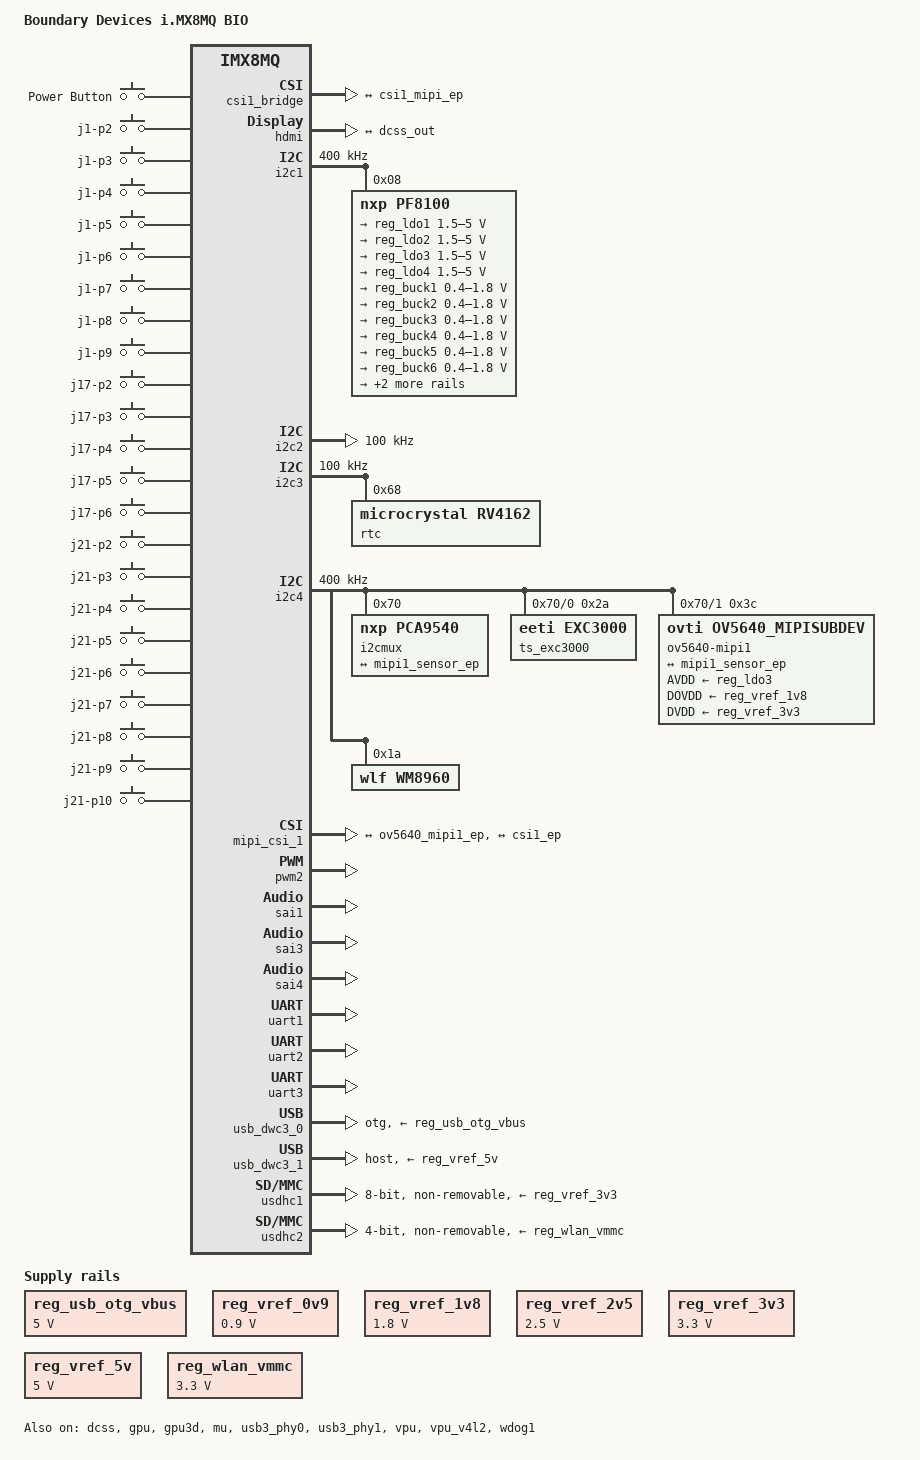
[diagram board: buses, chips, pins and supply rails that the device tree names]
// SPDX-License-Identifier: (GPL-2.0+ OR MIT)
/*
 * Copyright 2018 Boundary Devices
 */

/dts-v1/;

#include "imx8mq.dtsi"
#include "panel-m101nwwb.dtsi"

&iomuxc {
	pinctrl-names = "default";
	pinctrl-0 = <&pinctrl_hog>;

	pinctrl_backlight: backlightgrp {
		fsl,pins = <
#define GPIRQ_BKLIT_ERR	<&gpio4 19 IRQ_TYPE_LEVEL_HIGH>
			MX8MQ_IOMUXC_SAI1_TXD7_GPIO4_IO19		0x19
		>;
	};

	pinctrl_bt_rfkill: bt-rfkillgrp {
		fsl,pins = <
#define GP_BT_RFKILL_RESET	<&gpio3 19 GPIO_ACTIVE_LOW>
			MX8MQ_IOMUXC_SAI5_RXFS_GPIO3_IO19		0x19
		>;
	};

	pinctrl_gpio_keys: gpio_keysgrp {
		fsl,pins = <
#define GP_GPIOKEY_POWER	<&gpio1 7 GPIO_ACTIVE_LOW>
			MX8MQ_IOMUXC_GPIO1_IO07_GPIO1_IO7		0x19	/* sw3 */
			/* J1 connector */
#define GP_GPIOKEY_J1_P2	<&gpio4 1 GPIO_ACTIVE_LOW>
			MX8MQ_IOMUXC_SAI1_RXC_GPIO4_IO1			0x19	/* Pin 2 */
#define GP_GPIOKEY_J1_P3	<&gpio5 5 GPIO_ACTIVE_LOW>
			MX8MQ_IOMUXC_SPDIF_EXT_CLK_GPIO5_IO5		0x19	/* Pin 3 */
#define GP_GPIOKEY_J1_P4	<&gpio4 3 GPIO_ACTIVE_LOW>
			MX8MQ_IOMUXC_SAI1_RXD1_GPIO4_IO3		0x19	/* Pin 4 */
#define GP_GPIOKEY_J1_P5	<&gpio4 4 GPIO_ACTIVE_LOW>
			MX8MQ_IOMUXC_SAI1_RXD2_GPIO4_IO4		0x19	/* Pin 5 */
#define GP_GPIOKEY_J1_P6	<&gpio4 5 GPIO_ACTIVE_LOW>
			MX8MQ_IOMUXC_SAI1_RXD3_GPIO4_IO5		0x19	/* Pin 6 */
#define GP_GPIOKEY_J1_P7	<&gpio4 6 GPIO_ACTIVE_LOW>
			MX8MQ_IOMUXC_SAI1_RXD4_GPIO4_IO6		0x19	/* Pin 7 */
#define GP_GPIOKEY_J1_P8	<&gpio4 7 GPIO_ACTIVE_LOW>
			MX8MQ_IOMUXC_SAI1_RXD5_GPIO4_IO7		0x19	/* Pin 8 */
#define GP_GPIOKEY_J1_P9	<&gpio4 8 GPIO_ACTIVE_LOW>
			MX8MQ_IOMUXC_SAI1_RXD6_GPIO4_IO8		0x19	/* Pin 9 */
			/* J17 connector */
#define GP_GPIOKEY_J17_P2	<&gpio4 0 GPIO_ACTIVE_LOW>
			MX8MQ_IOMUXC_SAI1_RXFS_GPIO4_IO0		0x19	/* Pin 2 */
#define GP_GPIOKEY_J17_P3	<&gpio1 3 GPIO_ACTIVE_LOW>
			MX8MQ_IOMUXC_GPIO1_IO03_GPIO1_IO3		0x19	/* Pin 3 */
#define GP_GPIOKEY_J17_P4	<&gpio1 10 GPIO_ACTIVE_LOW>
			MX8MQ_IOMUXC_GPIO1_IO10_GPIO1_IO10		0x19	/* Pin 4 */
#define GP_GPIOKEY_J17_P5	<&gpio5 10 GPIO_ACTIVE_LOW>
			MX8MQ_IOMUXC_ECSPI2_SCLK_GPIO5_IO10		0x19	/* Pin 5 */
#define GP_GPIOKEY_J17_P6	<&gpio1 1 GPIO_ACTIVE_LOW>
			MX8MQ_IOMUXC_GPIO1_IO01_GPIO1_IO1		0x19	/* pin 6 */

			/* J21 connector */
#define GP_GPIOKEY_J21_P2	<&gpio3 4 GPIO_ACTIVE_LOW>
			MX8MQ_IOMUXC_NAND_CE3_B_GPIO3_IO4		0x19	/* Pin 2 */
#define GP_GPIOKEY_J21_P3	<&gpio3 15 GPIO_ACTIVE_LOW>
			MX8MQ_IOMUXC_NAND_RE_B_GPIO3_IO15		0x19	/* Pin 3 */
#define GP_GPIOKEY_J21_P4	<&gpio3 11 GPIO_ACTIVE_LOW>
			MX8MQ_IOMUXC_NAND_DATA05_GPIO3_IO11		0x19	/* Pin 4 */
#define GP_GPIOKEY_J21_P5	<&gpio3 10 GPIO_ACTIVE_LOW>
			MX8MQ_IOMUXC_NAND_DATA04_GPIO3_IO10		0x19	/* Pin 5 */
#define GP_GPIOKEY_J21_P6	<&gpio3 9 GPIO_ACTIVE_LOW>
			MX8MQ_IOMUXC_NAND_DATA03_GPIO3_IO9		0x19	/* Pin 6 */
#define GP_GPIOKEY_J21_P7	<&gpio3 8 GPIO_ACTIVE_LOW>
			MX8MQ_IOMUXC_NAND_DATA02_GPIO3_IO8		0x19	/* Pin 7 */
#define GP_GPIOKEY_J21_P8	<&gpio3 7 GPIO_ACTIVE_LOW>
			MX8MQ_IOMUXC_NAND_DATA01_GPIO3_IO7		0x19	/* Pin 8 */
#define GP_GPIOKEY_J21_P9	<&gpio3 6 GPIO_ACTIVE_LOW>
			MX8MQ_IOMUXC_NAND_DATA00_GPIO3_IO6		0x19	/* Pin 9 */
#define GP_GPIOKEY_J21_P10	<&gpio1 5 GPIO_ACTIVE_LOW>
			MX8MQ_IOMUXC_GPIO1_IO05_GPIO1_IO5		0x19	/* Pin 10 */
		>;
	};

	pinctrl_hog: hoggrp {
		fsl,pins = <
			/* J19 Pin 2, WL_WAKE */
			MX8MQ_IOMUXC_SAI5_RXD2_GPIO3_IO23		0xd6
			/* J19 Pin 4, WL_IRQ, not needed for Silex */
			MX8MQ_IOMUXC_SAI5_RXD0_GPIO3_IO21		0xd6
			/* J19 Pin 42, BT_HOST_WAKE */
			MX8MQ_IOMUXC_SAI5_MCLK_GPIO3_IO25		0xd6

			/* test points */
			MX8MQ_IOMUXC_NAND_READY_B_GPIO3_IO16		0x19	/* TP29 */
			MX8MQ_IOMUXC_NAND_ALE_GPIO3_IO0			0x19	/* TP30 */
			MX8MQ_IOMUXC_SAI1_TXD4_GPIO4_IO16		0x19	/* TP31 */
			MX8MQ_IOMUXC_SAI3_MCLK_PWM4_OUT			0x19	/* TP32 */
		>;
	};

	pinctrl_i2c1: i2c1grp {
		fsl,pins = <
			MX8MQ_IOMUXC_I2C1_SCL_I2C1_SCL			0x4000007f
			MX8MQ_IOMUXC_I2C1_SDA_I2C1_SDA			0x4000007f
		>;
	};

	pinctrl_i2c1_1: i2c1-1grp {
		fsl,pins = <
#define GP_I2C1_SCL	<&gpio5 14 GPIO_OPEN_DRAIN>
			MX8MQ_IOMUXC_I2C1_SCL_GPIO5_IO14		0x4000007f
#define GP_I2C1_SDA	<&gpio5 15 GPIO_OPEN_DRAIN>
			MX8MQ_IOMUXC_I2C1_SDA_GPIO5_IO15		0x4000007f
		>;
	};

	pinctrl_i2c2: i2c2grp {
		fsl,pins = <
			MX8MQ_IOMUXC_I2C2_SCL_I2C2_SCL			0x4000007f
			MX8MQ_IOMUXC_I2C2_SDA_I2C2_SDA			0x4000007f
		>;
	};

	pinctrl_i2c2_1: i2c2-1grp {
		fsl,pins = <
#define GP_I2C2_SCL	<&gpio5 16 GPIO_OPEN_DRAIN>
			MX8MQ_IOMUXC_I2C2_SCL_GPIO5_IO16		0x4000007f
#define GP_I2C2_SDA	<&gpio5 17 GPIO_OPEN_DRAIN>
			MX8MQ_IOMUXC_I2C2_SDA_GPIO5_IO17		0x4000007f
		>;
	};

	pinctrl_i2c2_ov5640_mipi: i2c2-ov5640-mipigrp {
		fsl,pins = <
#define GP_OV5640_MIPI_POWER_DOWN	<&gpio4 25 GPIO_ACTIVE_HIGH>
			MX8MQ_IOMUXC_SAI2_TXC_GPIO4_IO25		0x61
#define GP_OV5640_MIPI_RESET	<&gpio4 24 GPIO_ACTIVE_LOW>
			MX8MQ_IOMUXC_SAI2_TXFS_GPIO4_IO24		0x61
			/* Clock for CSI1 */
			MX8MQ_IOMUXC_GPIO1_IO15_CCMSRCGPCMIX_CLKO2	0x59
		>;
	};

	pinctrl_i2c2_sn65dsi83: i2c2-sn65dsi83grp {
		fsl,pins = <
#define GP_I2C2_SN65DSI83_IRQ_REV0	<&gpio4 28 GPIO_ACTIVE_HIGH>
#define GPIRQ_I2C2_SN65DSI83_REV0	<&gpio4 28 IRQ_TYPE_LEVEL_HIGH>
			MX8MQ_IOMUXC_SAI3_RXFS_GPIO4_IO28	0x44
#define GP_I2C2_SN65DSI83_EN_REV0	<&gpio3 14 GPIO_ACTIVE_HIGH>
			MX8MQ_IOMUXC_NAND_DQS_GPIO3_IO14	0x06

#define GP_I2C2_SN65DSI83_IRQ	<&gpio3 24 GPIO_ACTIVE_HIGH>
#define GPIRQ_I2C2_SN65DSI83	<&gpio3 24 IRQ_TYPE_LEVEL_HIGH>
			MX8MQ_IOMUXC_SAI5_RXD3_GPIO3_IO24	0x44
#define GP_I2C2_SN65DSI83_EN	<&gpio3 22 GPIO_ACTIVE_HIGH>
			MX8MQ_IOMUXC_SAI5_RXD1_GPIO3_IO22	0x06
		>;
	};

	pinctrl_i2c3: i2c3grp {
		fsl,pins = <
			MX8MQ_IOMUXC_I2C3_SCL_I2C3_SCL			0x4000007f
			MX8MQ_IOMUXC_I2C3_SDA_I2C3_SDA			0x4000007f
		>;
	};

	pinctrl_i2c3_1: i2c3-1grp {
		fsl,pins = <
#define GP_I2C3_SCL	<&gpio5 18 GPIO_OPEN_DRAIN>
			MX8MQ_IOMUXC_I2C3_SCL_GPIO5_IO18		0x4000007f
#define GP_I2C3_SDA	<&gpio5 19 GPIO_OPEN_DRAIN>
			MX8MQ_IOMUXC_I2C3_SDA_GPIO5_IO19		0x4000007f
		>;
	};

	pinctrl_i2c3_rv4162: i2c3-rv4162grp {
		fsl,pins = <
#define GPIRQ_RV4162		<&gpio1 6 IRQ_TYPE_LEVEL_LOW>
			MX8MQ_IOMUXC_GPIO1_IO06_GPIO1_IO6		0x49
		>;
	};

	pinctrl_i2c4: i2c4grp {
		fsl,pins = <
			MX8MQ_IOMUXC_I2C4_SCL_I2C4_SCL			0x4000007f
			MX8MQ_IOMUXC_I2C4_SDA_I2C4_SDA			0x4000007f
		>;
	};

	pinctrl_i2c4_1: i2c4-1grp {
		fsl,pins = <
#define GP_I2C4_SCL	<&gpio5 20 GPIO_OPEN_DRAIN>
			MX8MQ_IOMUXC_I2C4_SCL_GPIO5_IO20		0x4000007f
#define GP_I2C4_SDA	<&gpio5 21 GPIO_OPEN_DRAIN>
			MX8MQ_IOMUXC_I2C4_SDA_GPIO5_IO21		0x4000007f
		>;
	};

	pinctrl_i2c4a_exc3000: i2c4-exc3000grp {
		fsl,pins = <
#define GPIRQ_EXC3000            <&gpio3 12 IRQ_TYPE_LEVEL_LOW>
#define GP_EXC3000_IRQ           <&gpio3 12 GPIO_ACTIVE_LOW>
			MX8MQ_IOMUXC_NAND_DATA06_GPIO3_IO12	0xd6
#define GP_EXC3000_RESET         <&gpio3 13 GPIO_ACTIVE_LOW>
			MX8MQ_IOMUXC_NAND_DATA07_GPIO3_IO13	0xd6
                >;
        };

	pinctrl_i2c4a_ft5x06: i2c4-ft5x06grp {
		fsl,pins = <
#define GPIRQ_I2C4_FT5X06	<&gpio3 12 IRQ_TYPE_EDGE_FALLING>
#define GP_I2C4_FT5X06_WAKE	<&gpio3 12 GPIO_ACTIVE_LOW>
			MX8MQ_IOMUXC_NAND_DATA06_GPIO3_IO12	0x49
#define GP_I2C4_FT5X06_RESET	<&gpio3 13 GPIO_ACTIVE_LOW>
			MX8MQ_IOMUXC_NAND_DATA07_GPIO3_IO13	0x49
		>;
	};

	pinctrl_i2c4a_gt911: i2c4-gt911grp {
		fsl,pins = <
#define GPIRQ_GT911 		<&gpio3 12 IRQ_TYPE_LEVEL_HIGH>
#define GP_GT911_IRQ 		<&gpio3 12 GPIO_ACTIVE_HIGH>
			MX8MQ_IOMUXC_NAND_DATA06_GPIO3_IO12	0xd6
			/* driver writes levels, instead of active/inactive */
#define GP_GT911_RESET		<&gpio3 13 GPIO_ACTIVE_HIGH>
			MX8MQ_IOMUXC_NAND_DATA07_GPIO3_IO13	0x49
		>;
	};

	pinctrl_i2c4a_st1633: i2c4-st1633grp {
		fsl,pins = <
#define GPIRQ_ST1633 		<&gpio3 12 IRQ_TYPE_EDGE_FALLING>
#define GP_ST1633_IRQ 		<&gpio3 12 GPIO_ACTIVE_LOW>
			MX8MQ_IOMUXC_NAND_DATA06_GPIO3_IO12	0xd6
#define GP_ST1633_RESET		<&gpio3 13 GPIO_ACTIVE_LOW>
			MX8MQ_IOMUXC_NAND_DATA07_GPIO3_IO13	0x49
		>;
	};

	pinctrl_pwm2: pwm2grp {
		fsl,pins = <
			MX8MQ_IOMUXC_SPDIF_RX_PWM2_OUT		0x16
		>;
	};

	pinctrl_reg_usbotg_vbus: reg-usbotg-vbusgrp {
		fsl,pins = <
#define GP_REG_USB_OTG_VBUS	<&gpio1 12 GPIO_ACTIVE_HIGH>
			MX8MQ_IOMUXC_GPIO1_IO12_GPIO1_IO12	0x16
		>;
	};

	pinctrl_reg_wlan_vmmc: reg-wlan-vmmcgrp {
		fsl,pins = <
#define GP_REG_WLAN_VMMC	<&gpio3 20 GPIO_ACTIVE_HIGH>
			MX8MQ_IOMUXC_SAI5_RXC_GPIO3_IO20	0x16
		>;
	};

	pinctrl_sai1: sai1grp {
		fsl,pins = <
			/* wm8960 */
			MX8MQ_IOMUXC_SAI1_MCLK_SAI1_MCLK		0xd6
			MX8MQ_IOMUXC_SAI1_TXFS_SAI1_TX_SYNC		0xd6
			MX8MQ_IOMUXC_SAI1_TXC_SAI1_TX_BCLK		0xd6
			MX8MQ_IOMUXC_SAI1_TXD0_SAI1_TX_DATA0		0xd6
			MX8MQ_IOMUXC_SAI1_RXD0_SAI1_RX_DATA0		0xd6
		>;
	};

	pinctrl_sai3: sai3grp {
		fsl,pins = <
			/* Bluetooth PCM */
			MX8MQ_IOMUXC_SAI3_TXFS_SAI3_TX_SYNC		0xd6
			MX8MQ_IOMUXC_SAI3_TXC_SAI3_TX_BCLK		0xd6
			MX8MQ_IOMUXC_SAI3_TXD_SAI3_TX_DATA0		0xd6
			MX8MQ_IOMUXC_SAI3_RXD_SAI3_RX_DATA0		0xd6
		>;
	};

	pinctrl_sound_wm8960: souncd-wm8960grp {
		fsl,pins = <
#define GPIRQ_MIC_DET		<&gpio5 12 IRQ_TYPE_LEVEL_HIGH>
			MX8MQ_IOMUXC_ECSPI2_MISO_GPIO5_IO12		0x01
		>;
	};

	pinctrl_uart1: uart1grp {
		fsl,pins = <
			MX8MQ_IOMUXC_UART1_RXD_UART1_DCE_RX		0x45
			MX8MQ_IOMUXC_UART1_TXD_UART1_DCE_TX		0x45
		>;
	};

	pinctrl_uart2: uart2grp {
		fsl,pins = <
			MX8MQ_IOMUXC_UART2_RXD_UART2_DCE_RX		0x45
			MX8MQ_IOMUXC_UART2_TXD_UART2_DCE_TX		0x45
		>;
	};

	pinctrl_uart3: uart3grp {
		fsl,pins = <
			MX8MQ_IOMUXC_UART3_RXD_UART3_DCE_RX		0x45
			MX8MQ_IOMUXC_UART3_TXD_UART3_DCE_TX		0x45
			MX8MQ_IOMUXC_ECSPI1_SS0_UART3_DCE_RTS_B		0x45
			MX8MQ_IOMUXC_ECSPI1_MISO_UART3_DCE_CTS_B	0x45
		>;
	};

	pinctrl_usb3_0: usb3-0grp {
		fsl,pins = <
			MX8MQ_IOMUXC_GPIO1_IO13_USB1_OTG_OC		0x16
		>;
	};

	pinctrl_usb3_1: usb3-1grp {
		fsl,pins = <
#define GP_USB3_1_HUB_RESET	<&gpio1 14 GPIO_ACTIVE_LOW>
			MX8MQ_IOMUXC_GPIO1_IO14_GPIO1_IO14		0x16
#define GP_USB3_1_DN3_SD_RESET	<&gpio3 17 GPIO_ACTIVE_HIGH>
			MX8MQ_IOMUXC_NAND_WE_B_GPIO3_IO17		0x61
		>;
	};

	pinctrl_usdhc1: usdhc1grp {
		fsl,pins = <
			MX8MQ_IOMUXC_SD1_CLK_USDHC1_CLK			0x83
			MX8MQ_IOMUXC_SD1_CMD_USDHC1_CMD			0xc3
			MX8MQ_IOMUXC_SD1_DATA0_USDHC1_DATA0		0xc3
			MX8MQ_IOMUXC_SD1_DATA1_USDHC1_DATA1		0xc3
			MX8MQ_IOMUXC_SD1_DATA2_USDHC1_DATA2		0xc3
			MX8MQ_IOMUXC_SD1_DATA3_USDHC1_DATA3		0xc3
			MX8MQ_IOMUXC_SD1_DATA4_USDHC1_DATA4		0xc3
			MX8MQ_IOMUXC_SD1_DATA5_USDHC1_DATA5		0xc3
			MX8MQ_IOMUXC_SD1_DATA6_USDHC1_DATA6		0xc3
			MX8MQ_IOMUXC_SD1_DATA7_USDHC1_DATA7		0xc3
#if 0
			MX8MQ_IOMUXC_SD1_RESET_B_USDHC1_RESET_B		0xc1
#else
#define GP_EMMC_RESET		<&gpio2 10 GPIO_ACTIVE_LOW>
			MX8MQ_IOMUXC_SD1_RESET_B_GPIO2_IO10		0x41
#endif
		>;
	};

	pinctrl_usdhc1_100mhz: usdhc1grp100mhz {
		fsl,pins = <
			MX8MQ_IOMUXC_SD1_CLK_USDHC1_CLK			0x8d
			MX8MQ_IOMUXC_SD1_CMD_USDHC1_CMD			0xcd
			MX8MQ_IOMUXC_SD1_DATA0_USDHC1_DATA0		0xcd
			MX8MQ_IOMUXC_SD1_DATA1_USDHC1_DATA1		0xcd
			MX8MQ_IOMUXC_SD1_DATA2_USDHC1_DATA2		0xcd
			MX8MQ_IOMUXC_SD1_DATA3_USDHC1_DATA3		0xcd
			MX8MQ_IOMUXC_SD1_DATA4_USDHC1_DATA4		0xcd
			MX8MQ_IOMUXC_SD1_DATA5_USDHC1_DATA5		0xcd
			MX8MQ_IOMUXC_SD1_DATA6_USDHC1_DATA6		0xcd
			MX8MQ_IOMUXC_SD1_DATA7_USDHC1_DATA7		0xcd
		>;
	};

	pinctrl_usdhc1_200mhz: usdhc1grp200mhz {
		fsl,pins = <
			MX8MQ_IOMUXC_SD1_CLK_USDHC1_CLK			0x9f
			MX8MQ_IOMUXC_SD1_CMD_USDHC1_CMD			0xdf
			MX8MQ_IOMUXC_SD1_DATA0_USDHC1_DATA0		0xdf
			MX8MQ_IOMUXC_SD1_DATA1_USDHC1_DATA1		0xdf
			MX8MQ_IOMUXC_SD1_DATA2_USDHC1_DATA2		0xdf
			MX8MQ_IOMUXC_SD1_DATA3_USDHC1_DATA3		0xdf
			MX8MQ_IOMUXC_SD1_DATA4_USDHC1_DATA4		0xdf
			MX8MQ_IOMUXC_SD1_DATA5_USDHC1_DATA5		0xdf
			MX8MQ_IOMUXC_SD1_DATA6_USDHC1_DATA6		0xdf
			MX8MQ_IOMUXC_SD1_DATA7_USDHC1_DATA7		0xdf
		>;
	};

	pinctrl_usdhc2: usdhc2grp {
		fsl,pins = <
			MX8MQ_IOMUXC_SD2_CLK_USDHC2_CLK			0x83
			MX8MQ_IOMUXC_SD2_CMD_USDHC2_CMD			0xc3
			MX8MQ_IOMUXC_SD2_DATA0_USDHC2_DATA0		0xc3
			MX8MQ_IOMUXC_SD2_DATA1_USDHC2_DATA1		0xc3
			MX8MQ_IOMUXC_SD2_DATA2_USDHC2_DATA2		0xc3
			MX8MQ_IOMUXC_SD2_DATA3_USDHC2_DATA3		0xc3
			/* Bluetooth slow clock */
			MX8MQ_IOMUXC_GPIO1_IO00_ANAMIX_REF_CLK_32K	0x03
			MX8MQ_IOMUXC_SD2_CD_B_GPIO2_IO12		0x19	/* J19 pin 9 */
		>;
	};

	pinctrl_usdhc2_100mhz: usdhc2grp100mhz {
		fsl,pins = <
			MX8MQ_IOMUXC_SD2_CLK_USDHC2_CLK			0x8d
			MX8MQ_IOMUXC_SD2_CMD_USDHC2_CMD			0xcd
			MX8MQ_IOMUXC_SD2_DATA0_USDHC2_DATA0		0xcd
			MX8MQ_IOMUXC_SD2_DATA1_USDHC2_DATA1		0xcd
			MX8MQ_IOMUXC_SD2_DATA2_USDHC2_DATA2		0xcd
			MX8MQ_IOMUXC_SD2_DATA3_USDHC2_DATA3		0xcd
		>;
	};

	pinctrl_usdhc2_200mhz: usdhc2grp200mhz {
		fsl,pins = <
			MX8MQ_IOMUXC_SD2_CLK_USDHC2_CLK			0x9f
			MX8MQ_IOMUXC_SD2_CMD_USDHC2_CMD			0xdf
			MX8MQ_IOMUXC_SD2_DATA0_USDHC2_DATA0		0xdf
			MX8MQ_IOMUXC_SD2_DATA1_USDHC2_DATA1		0xdf
			MX8MQ_IOMUXC_SD2_DATA2_USDHC2_DATA2		0xdf
			MX8MQ_IOMUXC_SD2_DATA3_USDHC2_DATA3		0xdf
		>;
	};

	pinctrl_wdog: wdoggrp {
		fsl,pins = <
			MX8MQ_IOMUXC_GPIO1_IO02_WDOG1_WDOG_B		0xc6
		>;
	};
};

/ {
	model = "Boundary Devices i.MX8MQ BIO";
	compatible = "boundary,imx8mq-bio", "fsl,imx8mq";

	aliases {
		backlight_mipi = &backlight_mipi;
		dcss = &dcss;
		fb_mipi = &fb_mipi;
		fb_hdmi = &hdmi;
		lcdif = &lcdif;
		mipi = &fb_mipi;
		mipi_dsi = &mipi_dsi;
		mipi_dsi_bridge = &mipi_dsi;
		mipi_dsi_phy = &dphy;
		mipi_to_lvds = &mipi_to_lvds;
		pwm_mipi = &pwm2;
		sound_hdmi = &sound_hdmi;
		t_mipi = &t_mipi;
		ts_exc3000 = &ts_exc3000;
		ts_ft5x06 = &ts_ft5x06;
		ts_goodix = &ts_goodix;
		ts_st1633i = &ts_st1633i;
	};

	backlight_mipi: backlight-mipi {
		brightness-levels = <0 1 2 3 4 5 6 7 8 9 10>;
		compatible = "pwm-backlight";
		default-brightness-level = <8>;
		display = <&lcdif>;
		pwms = <&pwm2 0 30000>;		/* 33.3 Khz */
		status = "disabled";
	};

	bt-rfkill {
		compatible = "net,rfkill-gpio";
		pinctrl-names = "default";
		pinctrl-0 = <&pinctrl_bt_rfkill>;
		name = "bt-rfkill";
		type = <2>; /* Bluetooth */
		reset-gpios = GP_BT_RFKILL_RESET;
		status = "okay";
	};

	gpio-keys {
		compatible = "gpio-keys";
		pinctrl-names = "default";
		pinctrl-0 = <&pinctrl_gpio_keys>;

		power {
			label = "Power Button";
			gpios = GP_GPIOKEY_POWER;
			linux,code = <KEY_POWER>;
			gpio-key,wakeup;
		};

		j1-p2 {
			label = "j1-p2";
			gpios = GP_GPIOKEY_J1_P2;
			linux,code = <KEY_2>;
		};

		j1-p3 {
			label = "j1-p3";
			gpios = GP_GPIOKEY_J1_P3;
			linux,code = <KEY_3>;
		};

		j1-p4 {
			label = "j1-p4";
			gpios = GP_GPIOKEY_J1_P4;
			linux,code = <KEY_4>;
		};

		j1-p5 {
			label = "j1-p5";
			gpios = GP_GPIOKEY_J1_P5;
			linux,code = <KEY_5>;
		};

		j1-p6 {
			label = "j1-p6";
			gpios = GP_GPIOKEY_J1_P6;
			linux,code = <KEY_6>;
		};

		j1-p7 {
			label = "j1-p7";
			gpios = GP_GPIOKEY_J1_P7;
			linux,code = <KEY_7>;
		};

		j1-p8 {
			label = "j1-p8";
			gpios = GP_GPIOKEY_J1_P8;
			linux,code = <KEY_8>;
		};

		j1-p9 {
			label = "j1-p9";
			gpios = GP_GPIOKEY_J1_P9;
			linux,code = <KEY_9>;
		};

		j17-p2 {
			label = "j17-p2";
			gpios = GP_GPIOKEY_J17_P2;
			linux,code = <KEY_F2>;
		};

		j17-p3 {
			label = "j17-p3";
			gpios = GP_GPIOKEY_J17_P3;
			linux,code = <KEY_F3>;
		};

		j17-p4 {
			label = "j17-p4";
			gpios = GP_GPIOKEY_J17_P4;
			linux,code = <KEY_F4>;
		};

		j17-p5 {
			label = "j17-p5";
			gpios = GP_GPIOKEY_J17_P5;
			linux,code = <KEY_F5>;
		};

		j17-p6 {
			label = "j17-p6";
			gpios = GP_GPIOKEY_J17_P6;
			linux,code = <KEY_F6>;
		};

		j21-p2 {
			label = "j21-p2";
			gpios = GP_GPIOKEY_J21_P2;
			linux,code = <KEY_B>;
		};

		j21-p3 {
			label = "j21-p3";
			gpios = GP_GPIOKEY_J21_P3;
			linux,code = <KEY_C>;
		};

		j21-p4 {
			label = "j21-p4";
			gpios = GP_GPIOKEY_J21_P4;
			linux,code = <KEY_D>;
		};

		j21-p5 {
			label = "j21-p5";
			gpios = GP_GPIOKEY_J21_P5;
			linux,code = <KEY_E>;
		};

		j21-p6 {
			label = "j21-p6";
			gpios = GP_GPIOKEY_J21_P6;
			linux,code = <KEY_F>;
		};

		j21-p7 {
			label = "j21-p7";
			gpios = GP_GPIOKEY_J21_P7;
			linux,code = <KEY_G>;
		};

		j21-p8 {
			label = "j21-p8";
			gpios = GP_GPIOKEY_J21_P8;
			linux,code = <KEY_H>;
		};

		j21-p9 {
			label = "j21-p9";
			gpios = GP_GPIOKEY_J21_P9;
			linux,code = <KEY_I>;
		};

		j21-p10 {
			label = "j21-p10";
			gpios = GP_GPIOKEY_J21_P10;
			linux,code = <KEY_J>;
		};
	};

	reg_usb_otg_vbus: regulator-usb-otg-vbus {
		compatible = "regulator-fixed";
		pinctrl-names = "default";
		pinctrl-0 = <&pinctrl_reg_usbotg_vbus>;
		regulator-name = "usb_otg_vbus";
		regulator-min-microvolt = <5000000>;
		regulator-max-microvolt = <5000000>;
		gpio = GP_REG_USB_OTG_VBUS;
		enable-active-high;
	};

	reg_vref_0v9: regulator-vref-0v9 {
		compatible = "regulator-fixed";
		regulator-name = "vref-0v9";
		regulator-min-microvolt = <900000>;
		regulator-max-microvolt = <900000>;
	};

	reg_vref_1v8: regulator-vref-1v8 {
		compatible = "regulator-fixed";
		regulator-name = "vref-1v8";
		regulator-min-microvolt = <1800000>;
		regulator-max-microvolt = <1800000>;
	};

	reg_vref_2v5: regulator-vref-2v5 {
		compatible = "regulator-fixed";
		regulator-name = "vref-2v5";
		regulator-min-microvolt = <2500000>;
		regulator-max-microvolt = <2500000>;
	};

	reg_vref_3v3: regulator-vref-3v3 {
		compatible = "regulator-fixed";
		regulator-name = "vref-3v3";
		regulator-min-microvolt = <3300000>;
		regulator-max-microvolt = <3300000>;
	};

	reg_vref_5v: regulator-vref-5v {
		compatible = "regulator-fixed";
		regulator-name = "vref-5v";
		regulator-min-microvolt = <5000000>;
		regulator-max-microvolt = <5000000>;
	};

	reg_wlan_vmmc: regulator-wlan-vmmc {
		compatible = "regulator-fixed";
		pinctrl-names = "default";
		pinctrl-0 = <&pinctrl_reg_wlan_vmmc>;
		regulator-name = "reg_wlan_vmmc";
		regulator-min-microvolt = <3300000>;
		regulator-max-microvolt = <3300000>;
		gpio = GP_REG_WLAN_VMMC;
		startup-delay-us = <70000>;
		enable-active-high;
	};

	resmem: reserved-memory {
		#address-cells = <2>;
		#size-cells = <2>;
		ranges;

		/* global autoconfigured region for contiguous allocations */
		linux,cma {
			compatible = "shared-dma-pool";
			reusable;
			size = <0 0x3c000000>;
			alloc-ranges = <0 0x40000000 0 0x40000000>;
			linux,cma-default;
		};
	};

	sound-wm8960 {
		audio-codec = <&wm8960>;
		audio-cpu = <&sai1>;
		audio-routing =
			"Headphone Jack", "HP_L",
			"Headphone Jack", "HP_R",
			"Ext Spk", "SPK_LP",
			"Ext Spk", "SPK_LN",
			"Ext Spk", "SPK_RP",
			"Ext Spk", "SPK_RN",
			"LINPUT1", "Main MIC",
			"Main MIC", "MICB";
		codec-master;
		compatible = "fsl,imx-audio-wm8960";
		hp-det = <2 0>;
		model = "wm8960-audio";
		pinctrl-names = "default";
		pinctrl-0 = <&pinctrl_sound_wm8960>;
	};

	sound_hdmi: sound-hdmi {
		compatible = "fsl,imx-audio-hdmi";
		model = "imx-audio-hdmi";
		audio-cpu = <&sai4>;
		constraint-rate = <32000 44100 48000 96000 192000>;
		protocol = <1>;
		hdmi-out;
		status = "okay";
	};
};

&A53_0 {
	cpu-supply = <&reg_buck3>;
};

&A53_1 {
	cpu-supply = <&reg_buck3>;
};

&A53_2 {
	cpu-supply = <&reg_buck3>;
};

&A53_3 {
	cpu-supply = <&reg_buck3>;
};

&csi1_bridge {
	fsl,mipi-mode;
	fsl,two-8bit-sensor-mode;
	status = "okay";

	port {
		csi1_ep: endpoint {
			remote-endpoint = <&csi1_mipi_ep>;
		};
	};
};

&dcss {
	status = "okay";

	port {
		dcss_out: endpoint {
			remote-endpoint = <&hdmi_in>;
		};
	};
};

&gpu {
	power-domains = <&pgc_gpu>;
	status = "okay";
};

&gpu3d {
	power-domains = <&pgc_gpu>;
	status = "okay";
};

&hdmi {
	assigned-clocks = <&clk IMX8MQ_CLK_MON_SEL>;
	assigned-clock-parents = <&clk IMX8MQ_CLK_27M>;
	clocks = <&clk IMX8MQ_CLK_MON_CLK2_OUT>;
	clock-names = "refclk";
	compatible = "cdn,imx8mq-hdmi";
	lane-mapping = <0xe4>;
	status = "okay";

	port {
		hdmi_in: endpoint {
			remote-endpoint = <&dcss_out>;
		};
	};
};

&i2c1 {
	clock-frequency = <400000>;
	pinctrl-names = "default", "gpio";
	pinctrl-0 = <&pinctrl_i2c1>;
	pinctrl-1 = <&pinctrl_i2c1_1>;
	scl-gpios = GP_I2C1_SCL;
	sda-gpios = GP_I2C1_SDA;
	status = "okay";

	pf8100@8 {
		compatible = "nxp,pf8100";
		reg = <0x08>;

		regulators {
			reg_ldo1: ldo1 {
				regulator-always-on;
				regulator-boot-on;
				regulator-max-microvolt = <5000000>;
				regulator-min-microvolt = <1500000>;
			};

			reg_ldo2: ldo2 {
				regulator-always-on;
				regulator-boot-on;
				regulator-max-microvolt = <5000000>;
				regulator-min-microvolt = <1500000>;
#if 0
				/* vselect low is 3.3V, high is 1.8V */
				vselect-en;
#endif
			};

			reg_ldo3: ldo3 {
				regulator-always-on;
				regulator-boot-on;
				regulator-max-microvolt = <5000000>;
				regulator-min-microvolt = <1500000>;
			};

			reg_ldo4: ldo4 {
				regulator-always-on;
				regulator-boot-on;
				regulator-max-microvolt = <5000000>;
				regulator-min-microvolt = <1500000>;
			};

			reg_buck1: buck1 {
				nxp,phase-shift = <0>;
				regulator-max-microamp = <4500000>;
				regulator-always-on;
				regulator-boot-on;
				regulator-max-microvolt = <1800000>;
				regulator-min-microvolt =  <400000>;
			};

			reg_buck2: buck2 {
				regulator-always-on;
				regulator-boot-on;
				regulator-max-microvolt = <1800000>;
				regulator-min-microvolt =  <400000>;
			};

			reg_buck3: buck3 {
				regulator-always-on;
				regulator-boot-on;
				regulator-max-microvolt = <1800000>;
				regulator-min-microvolt =  <400000>;
			};

			reg_buck4: buck4 {
				regulator-always-on;
				regulator-boot-on;
				regulator-max-microvolt = <1800000>;
				regulator-min-microvolt =  <400000>;
			};

			reg_buck5: buck5 {
				regulator-always-on;
				regulator-boot-on;
				regulator-max-microvolt = <1800000>;
				regulator-min-microvolt =  <400000>;
			};

			reg_buck6: buck6 {
				regulator-always-on;
				regulator-boot-on;
				regulator-max-microvolt = <1800000>;
				regulator-min-microvolt =  <400000>;
			};

			reg_buck7: buck7 {
				regulator-always-on;
				regulator-boot-on;
				regulator-max-microvolt = <4100000>;
				regulator-min-microvolt = <1000000>;
			};

			reg_vsnvs: vsnvs {
				regulator-always-on;
				regulator-boot-on;
				regulator-max-microvolt = <3300000>;
				regulator-min-microvolt = <1800000>;
			};
		};
	};
};

&i2c2 {
	clock-frequency = <100000>;
	pinctrl-names = "default", "gpio";
	pinctrl-0 = <&pinctrl_i2c2>;
	pinctrl-1 = <&pinctrl_i2c2_1>;
	scl-gpios = GP_I2C2_SCL;
	sda-gpios = GP_I2C2_SDA;
	status = "okay";
};

&i2c3 {
	clock-frequency = <100000>;
	pinctrl-names = "default", "gpio";
	pinctrl-0 = <&pinctrl_i2c3>;
	pinctrl-1 = <&pinctrl_i2c3_1>;
	scl-gpios = GP_I2C3_SCL;
	sda-gpios = GP_I2C3_SDA;
	status = "okay";

	rtc@68 {
		compatible = "microcrystal,rv4162";
		pinctrl-names = "default";
		pinctrl-0 = <&pinctrl_i2c3_rv4162>;
		reg = <0x68>;
		interrupts-extended = GPIRQ_RV4162;
		wakeup-source;
	};
};

&i2c4 {
	clock-frequency = <400000>;
	pinctrl-names = "default", "gpio";
	pinctrl-0 = <&pinctrl_i2c4>;
	pinctrl-1 = <&pinctrl_i2c4_1>;
	scl-gpios = GP_I2C4_SCL;
	sda-gpios = GP_I2C4_SDA;
	status = "okay";

	i2cmux@70 {
		compatible = "nxp,pca9540";
		reg = <0x70>;
		#address-cells = <1>;
		#size-cells = <0>;

		i2c4a: i2c4@0 {
			reg = <0>;
			#address-cells = <1>;
			#size-cells = <0>;
		};

		i2c4b: i2c4@1 {
			clock-frequency = <100000>;
			reg = <1>;
			#address-cells = <1>;
			#size-cells = <0>;
		};
	};

	wm8960: codec@1a {
		clock-names = "mclk";
		clocks = <&clk IMX8MQ_CLK_SAI1_ROOT>;
		compatible = "wlf,wm8960";
		reg = <0x1a>;
		wlf,gpio-cfg = <1 3>;
		/* JD2: hp detect high for headphone*/
		wlf,hp-cfg = <2 2 3>;
		wlf,shared-lrclk;
	};
};

&i2c4a {
	ts_exc3000: touchscreen@2a {
		compatible = "eeti,exc3000";
		interrupts-extended = GPIRQ_EXC3000;
		pinctrl-names = "default";
		pinctrl-0 = <&pinctrl_i2c4a_exc3000>;
		reg = <0x2a>;
		reset-gpios = GP_EXC3000_RESET;
		status = "okay";
	};

	ts_ft5x06: touchscreen@38 {
		compatible = "edt,ft5x06-ts";
		interrupts-extended = GPIRQ_I2C4_FT5X06;
		pinctrl-names = "default";
		pinctrl-0 = <&pinctrl_i2c4a_ft5x06>;
		reg = <0x38>;
		reset-gpios = GP_I2C4_FT5X06_RESET;
		status = "disabled";
		wakeup-gpios = GP_I2C4_FT5X06_WAKE;
	};

	ts_goodix: touchscreen@14 {
		compatible = "goodix,gt9271";
		esd-recovery-timeout-ms = <2000>;
		interrupts-extended = GPIRQ_GT911;
		irq-gpios = GP_GT911_IRQ;
		pinctrl-names = "default";
		pinctrl-0 = <&pinctrl_i2c4a_gt911>;
		reg = <0x14>;
		reset-gpios = GP_GT911_RESET;
		status = "disabled";
	};

	ts_st1633i: touchscreen@55 {
		compatible = "sitronix,st1633i";
		interrupts-extended = GPIRQ_ST1633;
		reg = <0x55>;
		/* pins used by touchscreen */
		pinctrl-names = "default";
		pinctrl-0 = <&pinctrl_i2c4a_st1633>;
		reset-gpios = GP_ST1633_RESET;
		status = "disabled";
		wakeup-gpios = GP_ST1633_IRQ;
	};
};

&i2c4b {
	ov5640-mipi1@3c {
		AVDD-supply = <&reg_ldo3>;
		DOVDD-supply = <&reg_vref_1v8>;
		DVDD-supply = <&reg_vref_3v3>;
		assigned-clocks = <&clk IMX8MQ_CLK_CLKO2>;
		assigned-clock-parents = <&clk IMX8MQ_SYS2_PLL_200M>;
		assigned-clock-rates = <20000000>;
		clocks = <&clk IMX8MQ_CLK_CLKO2>;
		clock-names = "xclk";
#if 0
		compatible = "ovti,ov5640";
#else
		compatible = "ovti,ov5640_mipisubdev";
#endif
		pinctrl-names = "default";
		pinctrl-0 = <&pinctrl_i2c2_ov5640_mipi>;
		powerdown-gpios = GP_OV5640_MIPI_POWER_DOWN;
		reg = <0x3c>;
		reset-gpios = GP_OV5640_MIPI_RESET;
		status = "okay";

		port {
			ov5640_mipi1_ep: endpoint {
				clock-lanes = <0>;
				data-lanes = <1 2>;
				remote-endpoint = <&mipi1_sensor_ep>;
			};
		};
	};
};

&lcdif {
	assigned-clocks = <&clk IMX8MQ_CLK_LCDIF_PIXEL>,
			  <&clk IMX8MQ_VIDEO_PLL1_REF_SEL>;
	assigned-clock-parents = <&clk IMX8MQ_VIDEO_PLL1_OUT>,
				 <&clk IMX8MQ_CLK_25M>;
	status = "disabled";
};

&mipi_csi_1 {
	#address-cells = <1>;
	#size-cells = <0>;
	status = "okay";
	port {
		mipi1_sensor_ep: endpoint@1 {
			bus-type = <4>;
			data-lanes = <1 2>;
			remote-endpoint = <&ov5640_mipi1_ep>;
		};

		csi1_mipi_ep: endpoint@2 {
			remote-endpoint = <&csi1_ep>;
		};
	};
};

&mipi_dsi {
	/delete-property/ no_clk_reset;
	assigned-clocks = <&clk IMX8MQ_CLK_DSI_PHY_REF>,
			  <&clk IMX8MQ_CLK_DSI_CORE>,
			  <&clk IMX8MQ_CLK_DSI_AHB>,
			  <&clk IMX8MQ_VIDEO_PLL1_REF_SEL>,
			  <&clk IMX8MQ_CLK_DSI_IPG_DIV>;
	assigned-clock-parents = <&clk IMX8MQ_VIDEO_PLL1_OUT>,
				 <&clk IMX8MQ_SYS1_PLL_266M>,
				 <&clk IMX8MQ_SYS1_PLL_80M>,
				 <&clk IMX8MQ_CLK_25M>;
	assigned-clock-rates = <27000000>,
			       <266000000>,
			       <80000000>,
			       <0>,
			       <20000000>;
	status = "disabled";
	#address-cells = <1>;
	#size-cells = <0>;

	fb_mipi: panel@0 {
		backlight = <&backlight_mipi>;
		bits-per-color = <8>;
		bridge-de-active = <0>;
#if 0
		bridge-sync-active = <1>;
#endif
		bus-format = "rgb888";
		clocks = <&dphy 0>,
			<&clk IMX8MQ_CLK_LCDIF_PIXEL>;
		clock-names = "mipi_clk", "pixel_clock";
		compatible = "panel,common";
		delay-power-up = <2>;
		dsi-format = "rgb888";
		dsi-lanes = <4>;
		mode-skip-eot;
		mode-video;
		mode-video-burst;
		panel-height-mm = <136>;
		panel-width-mm = <217>;
		pinctrl-names = "sn65dsi83";
		pinctrl-0 = <&pinctrl_i2c2_sn65dsi83>;
		power-supply = <&reg_vref_5v>;
		reg = <0>;
		sn65dsi83 = <&mipi_to_lvds>;
		spwg;

		display-timings {
			t_mipi: t-dsi-default {
				/* m101nwwb by default */
				clock-frequency = <70000000>;
				hactive = <1280>;
				vactive = <800>;
				hback-porch = <5>;
				hfront-porch = <123>;
				vback-porch = <3>;
				vfront-porch = <24>;
				hsync-len = <1>;
				vsync-len = <1>;
				hsync-active = <1>;
				vsync-active = <1>;
				de-active = <1>;
			};
		};

		mipi_to_lvds: mipi-to-lvds {
			alias = <&mipi_to_lvds>;
			enable-gpios = GP_I2C2_SN65DSI83_EN_REV0, GP_I2C2_SN65DSI83_EN;
			i2c-address = <0x2c>;
			i2c-bus = <&i2c2>;
			interrupts-extended = GPIRQ_I2C2_SN65DSI83_REV0, GPIRQ_I2C2_SN65DSI83;
			status = "disabled";
		};

		port {
			panel1_in: endpoint {
				remote-endpoint = <&mipi_dsi_out>;
			};
		};
	};

	ports {
		port@1 {
			reg = <1>;

			mipi_dsi_out: endpoint {
				remote-endpoint = <&panel1_in>;
			};
		};
	};
};

&mu {
	status = "okay";
};

/delete-node/ &pgc_gpu;
/delete-node/ &pgc_vpu;
&pgc {
	pgc_gpuvpu: pgc-gpuvpu {
		#address-cells = <1>;
		#power-domain-cells = <0>;
		#size-cells = <0>;
		domain-name = "VPUGPU_PD";
		dvfs-supply = <&reg_buck5>;
		idle-microvolt = <900000 837000 990000>;

		pgc_gpu: power-domain@5 {
			clocks = <&clk IMX8MQ_CLK_GPU_AXI>,
				 <&clk IMX8MQ_CLK_GPU_SHADER_DIV>,
				 <&clk IMX8MQ_CLK_GPU_ROOT>,
				 <&clk IMX8MQ_CLK_GPU_AHB>;
			reg = <IMX8M_POWER_DOMAIN_GPU>;
			operating-points-v2 = <&gpu_opp_table>;
			#power-domain-cells = <0>;
		};

		pgc_vpu: power-domain@6 {
			clocks = <&clk IMX8MQ_CLK_VPU_G1_ROOT>,
				 <&clk IMX8MQ_CLK_VPU_G2_ROOT>,
				 <&clk IMX8MQ_CLK_VPU_DEC_ROOT>;
			reg = <IMX8M_POWER_DOMAIN_VPU>;
			operating-points-v2 = <&vpu_opp_table_g1>,
					<&vpu_opp_table_g2>,
					<&vpu_opp_table_dec>;
			#power-domain-cells = <0>;
		};
	};
};

&pwm2 {
	pinctrl-names = "default";
	pinctrl-0 = <&pinctrl_pwm2>;
	status = "okay";
};

&sai1 {
	pinctrl-names = "default";
	pinctrl-0 = <&pinctrl_sai1>;
	assigned-clocks = <&clk IMX8MQ_AUDIO_PLL1>, <&clk IMX8MQ_CLK_SAI1>;
	assigned-clock-parents = <0>, <&clk IMX8MQ_AUDIO_PLL1_OUT>;
	assigned-clock-rates = <786432000>, <12288000>;
	status = "okay";
};

&sai3 {
	pinctrl-names = "default";
	pinctrl-0 = <&pinctrl_sai3>;
	status = "okay";
};

&sai4 {
	assigned-clocks =  <&clk IMX8MQ_AUDIO_PLL1>, <&clk IMX8MQ_AUDIO_PLL2>, <&clk IMX8MQ_CLK_SAI4>;
	assigned-clock-parents = <0>, <0>, <&clk IMX8MQ_AUDIO_PLL1_OUT>;
	assigned-clock-rates = <786432000>, <722534400>, <24576000>;
	clocks = <&clk IMX8MQ_CLK_SAI4_IPG>, <&clk IMX8MQ_CLK_DUMMY>,
		<&clk IMX8MQ_CLK_SAI4_ROOT>, <&clk IMX8MQ_CLK_DUMMY>,
		<&clk IMX8MQ_CLK_DUMMY>, <&clk IMX8MQ_AUDIO_PLL1_OUT>,
		<&clk IMX8MQ_AUDIO_PLL2_OUT>;
	clock-names = "bus", "mclk0", "mclk1", "mclk2", "mclk3", "pll8k", "pll11k";
	status = "okay";
};

&uart1 { /* console */
	pinctrl-names = "default";
	pinctrl-0 = <&pinctrl_uart1>;
	assigned-clocks = <&clk IMX8MQ_CLK_UART1>;
	assigned-clock-parents = <&clk IMX8MQ_CLK_25M>;
	status = "okay";
};

&uart2 {
	pinctrl-names = "default";
	pinctrl-0 = <&pinctrl_uart2>;
	assigned-clocks = <&clk IMX8MQ_CLK_UART2>;
	assigned-clock-parents = <&clk IMX8MQ_CLK_25M>;
	status = "okay";
};

&uart3 {
	pinctrl-names = "default";
	pinctrl-0 = <&pinctrl_uart3>;
	assigned-clocks = <&clk IMX8MQ_CLK_UART3>;
	assigned-clock-parents = <&clk IMX8MQ_SYS1_PLL_80M>;
	uart-has-rtscts;
	status = "okay";
};

&usb3_phy0 {
	status = "okay";
	vbus-supply = <&reg_vref_5v>;
};

&usb_dwc3_0 {
	dr_mode = "otg";
	pinctrl-names = "default";
	pinctrl-0 = <&pinctrl_usb3_0>;
	status = "okay";
	vbus-supply = <&reg_usb_otg_vbus>;
};

&usb3_phy1 {
	status = "okay";
	vbus-supply = <&reg_vref_5v>;
};

&usb_dwc3_1 {
	dr_mode = "host";
	pinctrl-names = "default";
	pinctrl-0 = <&pinctrl_usb3_1>;
	reset-gpios = GP_USB3_1_HUB_RESET, GP_USB3_1_DN3_SD_RESET;
	status = "okay";
	vbus-supply = <&reg_vref_5v>;
};

&usdhc1 {
	bus-width = <8>;
	no-mmc-hs400;
	pinctrl-names = "default", "state_100mhz", "state_200mhz";
	pinctrl-0 = <&pinctrl_usdhc1>;
	pinctrl-1 = <&pinctrl_usdhc1_100mhz>;
	pinctrl-2 = <&pinctrl_usdhc1_200mhz>;
	non-removable;
	vmmc-supply = <&reg_vref_3v3>;
	vqmmc-1-8-v;
	vqmmc-supply = <&reg_vref_1v8>;
	status = "okay";
};

&usdhc2 {
	bus-width = <4>;
	fsl,sdio-async-interrupt-enabled;
	keep-power-in-suspend;
	no-sd-uhs-sdr104;
	non-removable;
	pinctrl-names = "default", "state_100mhz", "state_200mhz";
	pinctrl-0 = <&pinctrl_usdhc2>;
	pinctrl-1 = <&pinctrl_usdhc2_100mhz>;
	pinctrl-2 = <&pinctrl_usdhc2_200mhz>;
	pm-ignore-notify;
	status = "okay";
	vmmc-supply = <&reg_wlan_vmmc>;
	vqmmc-1-8-v;
	vqmmc-supply = <&reg_vref_1v8>;
};

&vpu {
	power-domains = <&pgc_vpu>;
	regulator-supply = <&reg_vref_0v9>;
	status = "okay";
};

&vpu_v4l2 {
	status = "okay";
};

&wdog1 {
	pinctrl-names = "default";
	pinctrl-0 = <&pinctrl_wdog>;
	status = "okay";
};
